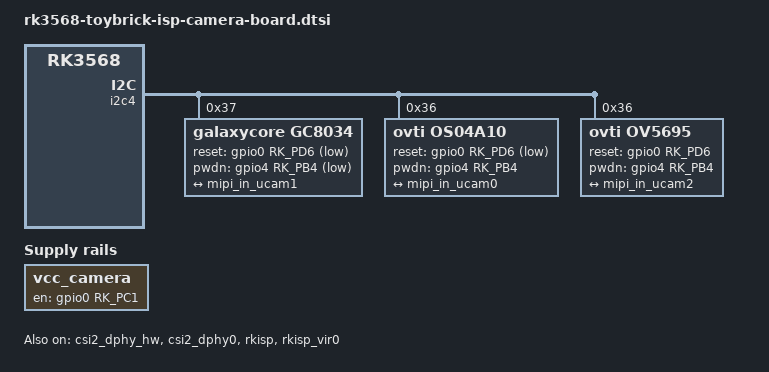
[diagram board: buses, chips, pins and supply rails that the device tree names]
// SPDX-License-Identifier: (GPL-2.0+ OR MIT)
/*
 * Copyright (c) 2020 Rockchip Electronics Co., Ltd.
 *
 */
#include "rk3568.dtsi"
/ {
	compatible = "rockchip,rk3568-toybrick-isp-0v5695", "rockchip,rk3568";
	vcc_camera: vcc-camera-regulator {
		compatible = "regulator-fixed";
		gpio = <&gpio0 RK_PC1 GPIO_ACTIVE_HIGH>;
		pinctrl-names = "default";
		pinctrl-0 = <&camera_pwr>;
		regulator-name = "vcc_camera";
		enable-active-high;
		regulator-always-on;
		regulator-boot-on;
	};
};

&csi2_dphy_hw {
	status = "okay";
};

&csi2_dphy0 {
	status = "okay";

	ports {
		#address-cells = <1>;
		#size-cells = <0>;
		port@0 {
			reg = <0>;
			#address-cells = <1>;
			#size-cells = <0>;

			mipi_in_ucam0: endpoint@1 {
				reg = <1>;
				remote-endpoint = <&ucam_out0>;
				data-lanes = <1 2 3 4>;
			};
			mipi_in_ucam1: endpoint@2 {
				reg = <2>;
				remote-endpoint = <&gc8034_out>;
				data-lanes = <1 2 3 4>;
			};
			mipi_in_ucam2: endpoint@3 {
				reg = <3>;
				remote-endpoint = <&ov5695_out>;
				data-lanes = <1 2>;
			};
		};
		port@1 {
			reg = <1>;
			#address-cells = <1>;
			#size-cells = <0>;

			csidphy_out: endpoint@0 {
				reg = <0>;
				remote-endpoint = <&isp0_in>;
			};
		};
	};
};

&i2c4 {
	status = "okay";
	gc8034: gc8034@37 {
		compatible = "galaxycore,gc8034";
		status = "okay";
		reg = <0x37>;
		clocks = <&cru CLK_CIF_OUT>;
		clock-names = "xvclk";
		pinctrl-names = "default";
		pinctrl-0 = <&cif_clk>;
		reset-gpios = <&gpio0 RK_PD6 GPIO_ACTIVE_LOW>;
		pwdn-gpios = <&gpio4 RK_PB4 GPIO_ACTIVE_LOW>;
		rockchip,grf = <&grf>;
		rockchip,camera-module-index = <0>;
		rockchip,camera-module-facing = "back";
		rockchip,camera-module-name = "RK-CMK-8M-2-v1";
		rockchip,camera-module-lens-name = "CK8401";
		port {
			gc8034_out: endpoint {
				remote-endpoint = <&mipi_in_ucam1>;
				data-lanes = <1 2 3 4>;
			};
		};
	};
	os04a10: os04a10@36 {
		compatible = "ovti,os04a10";
		reg = <0x36>;
		clocks = <&cru CLK_CIF_OUT>;
		clock-names = "xvclk";
		power-domains = <&power RK3568_PD_VI>;
		pinctrl-names = "default";
		pinctrl-0 = <&cif_clk>;
		reset-gpios = <&gpio0 RK_PD6 GPIO_ACTIVE_LOW>;
		pwdn-gpios = <&gpio4 RK_PB4 GPIO_ACTIVE_HIGH>;
		rockchip,camera-module-index = <0>;
		rockchip,camera-module-facing = "back";
		rockchip,camera-module-name = "CMK-OT1607-FV1";
		rockchip,camera-module-lens-name = "M12-40IRC-4MP-F16";
		port {
			ucam_out0: endpoint {
				remote-endpoint = <&mipi_in_ucam0>;
				data-lanes = <1 2 3 4>;
			};
		};
	};
	ov5695: ov5695@36 {
		status = "okay";
		compatible = "ovti,ov5695";
		reg = <0x36>;
		clocks = <&cru CLK_CIF_OUT>;
		clock-names = "xvclk";
		power-domains = <&power RK3568_PD_VI>;
		pinctrl-names = "default";
		pinctrl-0 = <&cif_clk>;
		reset-gpios = <&gpio0 RK_PD6 GPIO_ACTIVE_HIGH>;
		pwdn-gpios = <&gpio4 RK_PB4 GPIO_ACTIVE_HIGH>;
		rockchip,camera-module-index = <0>;
		rockchip,camera-module-facing = "back";
		rockchip,camera-module-name = "TongJu";
		rockchip,camera-module-lens-name = "CHT842-MD";
		port {
			ov5695_out: endpoint {
				remote-endpoint = <&mipi_in_ucam2>;
				data-lanes = <1 2>;
			};
		};
	};
};

&rkisp {
	status = "okay";
};

&rkisp_mmu {
	status = "okay";
};

&rkisp_vir0 {
	status = "okay";

	port {
		#address-cells = <1>;
		#size-cells = <0>;

		isp0_in: endpoint@0 {
			reg = <0>;
			remote-endpoint = <&csidphy_out>;
		};
	};
};

&pinctrl {
	cam {
		camera_pwr: camera-pwr {
			rockchip,pins =
				/* camera power en */
				<0 RK_PC1 RK_FUNC_GPIO &pcfg_pull_none>;
		};
	};
};
